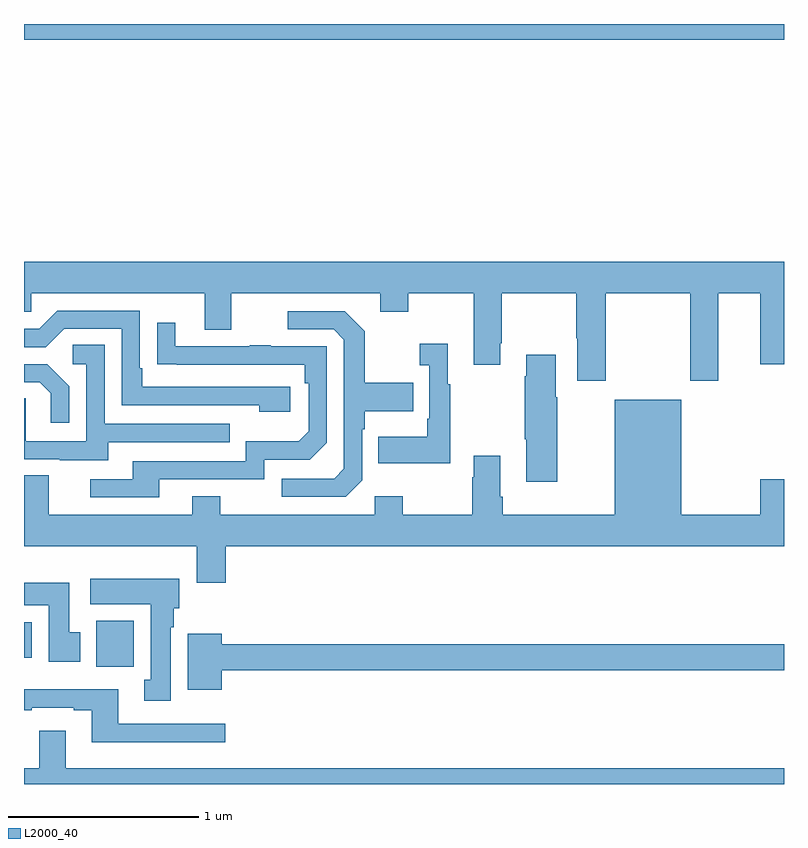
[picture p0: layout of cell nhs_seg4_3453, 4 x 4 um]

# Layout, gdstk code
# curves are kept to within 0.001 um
import gdstk
lib = gdstk.Library(unit=1e-6, precision=1e-09)
def R(c, l, rs):  # rectangles x0, y0, x1, y1
    for r in rs: c.add(gdstk.rectangle(r[:2], r[2:], *l))
def P(c, l, *ps):  # polygons
    for p in ps: c.add(gdstk.Polygon(p, *l))
L2000_40 = (2000, 40)

nhs_seg4_3453 = lib.new_cell('nhs_seg4_3453')
R(nhs_seg4_3453, L2000_40, [(293.381,797.516,293.578,797.758), (293,797.564,293.041,797.752), (293,800.816,297,800.9)])
P(nhs_seg4_3453, L2000_40, [(296.061,799.484),(296.506,799.484),(296.506,799.023),(296.653,799.023),(296.653,799.484),(296.876,799.484),(296.876,799.11),(297,799.11),(297,799.648),(293,799.648),(293,799.386),(293.037,799.386),(293.037,799.484),(293.951,799.484),(293.951,799.29),(294.091,799.29),(294.091,799.484),(294.875,799.484),(294.875,799.385),(295.023,799.385),(295.023,799.484),(295.367,799.484),(295.367,799.107),(295.507,799.107),(295.507,799.219),(295.515,799.219),(295.515,799.484),(295.906,799.484),(295.906,799.246),(295.913,799.246),(295.913,799.023),(296.061,799.023)],
  [(294.4,798.99),(293.623,798.99),(293.623,799.087),(293.61,799.087),(293.61,799.392),(293.175,799.392),(293.079,799.296),(293,799.296),(293,799.2),(293.115,799.2),(293.211,799.296),(293.514,799.296),(293.514,798.894),(294.239,798.894),(294.239,798.86),(294.4,798.86)],
  [(294.78,798.498),(294.78,798.767),(294.793,798.767),(294.793,798.863),(295.049,798.863),(295.049,799.011),(294.793,799.011),(294.793,799.283),(294.687,799.389),(294.387,799.389),(294.387,799.293),(294.63,799.293),(294.684,799.239),(294.684,798.558),(294.633,798.507),(294.357,798.507),(294.357,798.411),(294.693,798.411)],
  [(293.713,798.504),(294.264,798.504),(294.264,798.606),(294.504,798.606),(294.594,798.696),(294.594,799.203),(294.299,799.203),(294.299,799.208),(294.187,799.208),(294.187,799.203),(293.797,799.203),(293.797,799.327),(293.701,799.327),(293.701,799.108),(294.478,799.107),(294.478,799.01),(294.498,799.01),(294.498,798.756),(294.445,798.703),(294.168,798.703),(294.168,798.6),(293.573,798.6),(293.573,798.504),(293.349,798.504),(293.349,798.408),(293.713,798.408)],
  [(295.243,799.003),(295.231,799.003),(295.231,799.216),(295.083,799.216),(295.083,799.103),(295.134,799.103),(295.134,798.823),(295.122,798.823),(295.122,798.727),(294.865,798.727),(294.865,798.587),(295.243,798.587)],
  [(293.443,798.699),(294.083,798.699),(294.083,798.795),(293.424,798.795),(293.424,799.211),(293.256,799.211),(293.256,799.11),(293.328,799.11),(293.328,798.705),(293.01,798.705),(293.01,798.929),(293,798.929),(293,798.609),(293.189,798.609),(293.189,798.605),(293.443,798.605)],
  [(295.806,798.935),(295.798,798.935),(295.798,799.159),(295.643,799.159),(295.643,799.046),(295.636,799.046),(295.636,798.715),(295.643,798.715),(295.643,798.492),(295.806,798.492)],
  [(293.238,798.994),(293.122,799.11),(293,799.11),(293,799.014),(293.084,799.014),(293.141,798.957),(293.141,798.801),(293.238,798.801)],
  [(294.062,798.152),(297,798.152),(297,798.505),(296.876,798.505),(296.876,798.316),(296.458,798.316),(296.458,798.922),(296.108,798.922),(296.108,798.316),(295.52,798.316),(295.52,798.412),(295.507,798.412),(295.507,798.628),(295.367,798.628),(295.367,798.515),(295.36,798.515),(295.36,798.316),(294.993,798.316),(294.993,798.415),(294.846,798.415),(294.846,798.316),(294.033,798.316),(294.033,798.415),(293.885,798.415),(293.885,798.316),(293.131,798.316),(293.131,798.524),(293,798.524),(293,798.152),(293.909,798.152),(293.909,797.958),(294.062,797.958)],
  [(293.773,797.726),(293.788,797.726),(293.788,797.826),(293.818,797.826),(293.818,797.98),(293.349,797.98),(293.349,797.846),(293.666,797.846),(293.666,797.45),(293.633,797.45),(293.633,797.337),(293.773,797.337)],
  [(293.296,797.7),(293.239,797.7),(293.239,797.959),(293,797.959),(293,797.84),(293.129,797.84),(293.129,797.544),(293.296,797.544)],
  [(294.04,797.5),(297,797.5),(297,797.636),(294.04,797.636),(294.04,797.692),(293.861,797.692),(293.861,797.396),(294.04,797.396)],
  [(294.058,797.217),(293.497,797.217),(293.497,797.398),(293,797.398),(293,797.289),(293.041,797.289),(293.041,797.301),(293.261,797.301),(293.261,797.289),(293.357,797.289),(293.357,797.12),(294.058,797.12)],
  [(297,796.984),(293.221,796.984),(293.221,797.179),(293.081,797.179),(293.081,796.984),(293,796.984),(293,796.9),(297,796.9)])

lib.write_gds('nhs_seg4_3453.gds')
